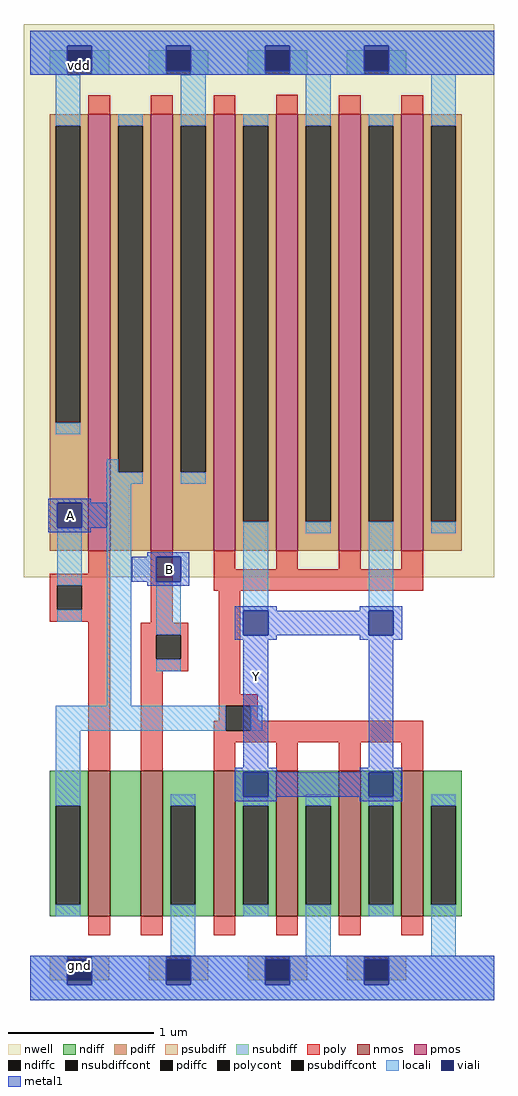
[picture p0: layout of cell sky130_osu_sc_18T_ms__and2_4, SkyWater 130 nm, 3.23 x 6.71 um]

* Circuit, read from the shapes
.subckt sky130_osu_sc_18T_ms__and2_4 Y A B
XM1 n1 A n2 gnd sky130_fd_pr__nfet_01v8 w=1 l=0.15
XM2 gnd B n1 gnd sky130_fd_pr__nfet_01v8 w=1 l=0.15
XM3 Y n2 gnd gnd sky130_fd_pr__nfet_01v8 w=1 l=0.15 m=4
XM4 n2 A vdd vdd sky130_fd_pr__pfet_01v8 w=3 l=0.15
XM5 vdd B n2 vdd sky130_fd_pr__pfet_01v8 w=3 l=0.15
XM6 Y n2 vdd vdd sky130_fd_pr__pfet_01v8 w=3 l=0.15 m=4
.ends

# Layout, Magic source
magic
tech sky130A
magscale 1 2
<< nwell >>
rect -9 581 638 1341
<< nmos >>
rect 80 115 110 315
rect 152 115 182 315
rect 252 115 282 315
rect 338 115 368 315
rect 424 115 454 315
rect 510 115 540 315
<< pmos >>
rect 80 617 110 1217
rect 166 617 196 1217
rect 252 617 282 1217
rect 338 617 368 1217
rect 424 617 454 1217
rect 510 617 540 1217
<< ndiff >>
rect 27 267 80 315
rect 27 131 35 267
rect 69 131 80 267
rect 27 115 80 131
rect 110 115 152 315
rect 182 267 252 315
rect 182 131 193 267
rect 227 131 252 267
rect 182 115 252 131
rect 282 267 338 315
rect 282 131 293 267
rect 327 131 338 267
rect 282 115 338 131
rect 368 267 424 315
rect 368 131 379 267
rect 413 131 424 267
rect 368 115 424 131
rect 454 267 510 315
rect 454 131 465 267
rect 499 131 510 267
rect 454 115 510 131
rect 540 267 593 315
rect 540 131 551 267
rect 585 131 593 267
rect 540 115 593 131
<< pdiff >>
rect 27 1201 80 1217
rect 27 793 35 1201
rect 69 793 80 1201
rect 27 617 80 793
rect 110 1201 166 1217
rect 110 725 121 1201
rect 155 725 166 1201
rect 110 617 166 725
rect 196 1201 252 1217
rect 196 725 207 1201
rect 241 725 252 1201
rect 196 617 252 725
rect 282 1201 338 1217
rect 282 657 293 1201
rect 327 657 338 1201
rect 282 617 338 657
rect 368 1201 424 1217
rect 368 657 379 1201
rect 413 657 424 1201
rect 368 617 424 657
rect 454 1201 510 1217
rect 454 657 465 1201
rect 499 657 510 1201
rect 454 617 510 657
rect 540 1201 593 1217
rect 540 657 551 1201
rect 585 657 593 1201
rect 540 617 593 657
<< ndiffc >>
rect 35 131 69 267
rect 193 131 227 267
rect 293 131 327 267
rect 379 131 413 267
rect 465 131 499 267
rect 551 131 585 267
<< pdiffc >>
rect 35 793 69 1201
rect 121 725 155 1201
rect 207 725 241 1201
rect 293 657 327 1201
rect 379 657 413 1201
rect 465 657 499 1201
rect 551 657 585 1201
<< psubdiff >>
rect 27 27 51 61
rect 85 27 109 61
rect 163 27 187 61
rect 221 27 245 61
rect 299 27 323 61
rect 357 27 381 61
rect 435 27 459 61
rect 493 27 517 61
<< nsubdiff >>
rect 27 1271 51 1305
rect 85 1271 109 1305
rect 163 1271 187 1305
rect 221 1271 245 1305
rect 299 1271 323 1305
rect 357 1271 381 1305
rect 435 1271 459 1305
rect 493 1271 517 1305
<< psubdiffcont >>
rect 51 27 85 61
rect 187 27 221 61
rect 323 27 357 61
rect 459 27 493 61
<< nsubdiffcont >>
rect 51 1271 85 1305
rect 187 1271 221 1305
rect 323 1271 357 1305
rect 459 1271 493 1305
<< poly >>
rect 80 1217 110 1243
rect 166 1217 196 1243
rect 252 1217 282 1243
rect 338 1217 368 1244
rect 424 1217 454 1243
rect 510 1217 540 1243
rect 80 586 110 617
rect 27 570 110 586
rect 27 536 37 570
rect 71 536 110 570
rect 27 520 110 536
rect 80 315 110 520
rect 166 518 196 617
rect 252 592 282 617
rect 338 592 368 617
rect 424 592 454 617
rect 510 592 540 617
rect 252 562 540 592
rect 152 502 217 518
rect 152 468 173 502
rect 207 468 217 502
rect 152 452 217 468
rect 152 315 182 452
rect 259 420 289 562
rect 259 404 313 420
rect 259 384 269 404
rect 252 370 269 384
rect 303 384 313 404
rect 303 370 540 384
rect 252 354 540 370
rect 252 315 282 354
rect 338 315 368 354
rect 424 315 454 354
rect 510 315 540 354
rect 80 89 110 115
rect 152 89 182 115
rect 252 89 282 115
rect 338 89 368 115
rect 424 89 454 115
rect 510 89 540 115
<< polycont >>
rect 37 536 71 570
rect 173 468 207 502
rect 269 370 303 404
<< locali >>
rect 0 1311 638 1332
rect 0 1271 51 1311
rect 85 1271 187 1311
rect 221 1271 323 1311
rect 357 1271 459 1311
rect 493 1271 638 1311
rect 35 1201 69 1271
rect 35 777 69 793
rect 121 1201 155 1217
rect 105 725 121 743
rect 105 709 155 725
rect 207 1201 241 1271
rect 207 709 241 725
rect 293 1201 327 1217
rect 37 570 71 649
rect 37 520 71 536
rect 105 404 139 709
rect 173 502 207 575
rect 293 535 327 657
rect 379 1201 413 1271
rect 379 641 413 657
rect 465 1201 499 1217
rect 465 535 499 657
rect 551 1201 585 1271
rect 551 641 585 657
rect 173 452 207 468
rect 35 370 269 404
rect 303 370 319 404
rect 35 267 69 370
rect 35 115 69 131
rect 193 267 227 283
rect 193 61 227 131
rect 293 267 327 279
rect 293 115 327 131
rect 379 267 413 283
rect 379 61 413 131
rect 465 267 499 279
rect 465 115 499 131
rect 551 267 585 283
rect 551 61 585 131
rect 0 21 51 61
rect 85 21 187 61
rect 221 21 323 61
rect 357 21 459 61
rect 493 21 638 61
rect 0 0 638 21
<< viali >>
rect 51 1305 85 1311
rect 51 1277 85 1305
rect 187 1305 221 1311
rect 187 1277 221 1305
rect 323 1305 357 1311
rect 323 1277 357 1305
rect 459 1305 493 1311
rect 459 1277 493 1305
rect 37 649 71 683
rect 173 575 207 609
rect 293 501 327 535
rect 465 501 499 535
rect 293 279 327 313
rect 465 279 499 313
rect 51 27 85 55
rect 51 21 85 27
rect 187 27 221 55
rect 187 21 221 27
rect 323 27 357 55
rect 323 21 357 27
rect 459 27 493 55
rect 459 21 493 27
<< metal1 >>
rect 0 1311 638 1332
rect 0 1277 51 1311
rect 85 1277 187 1311
rect 221 1277 323 1311
rect 357 1277 459 1311
rect 493 1277 638 1311
rect 0 1271 638 1277
rect 25 683 83 689
rect 25 649 37 683
rect 71 649 105 683
rect 25 643 83 649
rect 161 609 219 615
rect 140 575 173 609
rect 207 575 219 609
rect 161 569 219 575
rect 281 535 339 541
rect 453 535 511 541
rect 281 501 293 535
rect 327 501 465 535
rect 499 501 511 535
rect 281 495 339 501
rect 453 495 511 501
rect 293 319 327 495
rect 465 319 499 495
rect 281 313 339 319
rect 453 313 511 319
rect 281 279 293 313
rect 327 279 465 313
rect 499 279 511 313
rect 281 273 339 279
rect 453 273 511 279
rect 0 55 638 61
rect 0 21 51 55
rect 85 21 187 55
rect 221 21 323 55
rect 357 21 459 55
rect 493 21 638 55
rect 0 0 638 21
<< labels >>
rlabel metal1 311 444 311 444 1 Y
port 1 n
rlabel metal1 55 666 55 666 1 A
port 2 n
rlabel metal1 191 592 191 592 1 B
port 3 n
rlabel viali 68 48 68 48 1 gnd
rlabel viali 68 1284 68 1284 1 vdd
<< end >>
